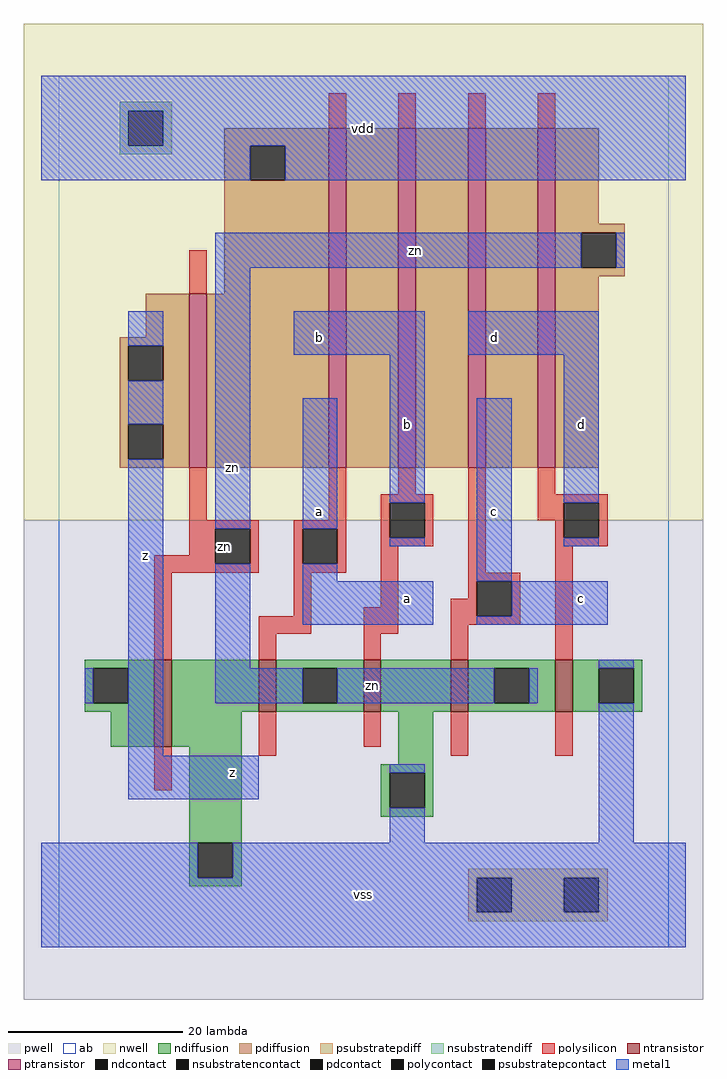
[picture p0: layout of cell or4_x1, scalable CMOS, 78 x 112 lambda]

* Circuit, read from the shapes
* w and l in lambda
.subckt or4_x1 a b c d vdd vss z zn
M1 vss zn z vss nfet w=10 l=2
M2 zn a vss vss nfet w=6 l=2
M3 vss b zn vss nfet w=6 l=2
M4 zn c vss vss nfet w=6 l=2
M5 vss d zn vss nfet w=6 l=2
M6 vdd zn z vdd pfet w=20 l=2
M7 n1 a vdd vdd pfet w=39 l=2
M8 n2 b n1 vdd pfet w=39 l=2
M9 n3 c n2 vdd pfet w=39 l=2
M10 zn d n3 vdd pfet w=39 l=2
.ends

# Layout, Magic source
magic
tech scmos
<< ab >>
rect 0 0 70 100
<< pwell >>
rect -4 -6 74 49
<< nwell >>
rect -4 49 74 106
<< polysilicon >>
rect 31 94 33 98
rect 39 94 41 98
rect 47 94 49 98
rect 55 94 57 98
rect 15 75 17 80
rect 15 49 17 55
rect 31 49 33 55
rect 39 52 41 55
rect 15 48 23 49
rect 15 45 18 48
rect 11 44 18 45
rect 22 44 23 48
rect 11 43 23 44
rect 27 48 33 49
rect 27 44 28 48
rect 32 44 33 48
rect 27 43 33 44
rect 37 51 43 52
rect 37 47 38 51
rect 42 47 43 51
rect 37 46 43 47
rect 11 33 13 43
rect 27 38 29 43
rect 37 39 39 46
rect 47 43 49 55
rect 55 52 57 55
rect 55 51 63 52
rect 55 49 58 51
rect 57 47 58 49
rect 62 47 63 51
rect 57 46 63 47
rect 47 42 53 43
rect 47 40 48 42
rect 23 36 29 38
rect 35 36 39 39
rect 45 38 48 40
rect 52 38 53 42
rect 45 37 53 38
rect 23 33 25 36
rect 35 33 37 36
rect 45 33 47 37
rect 57 33 59 46
rect 11 18 13 23
rect 23 22 25 27
rect 35 23 37 27
rect 45 22 47 27
rect 57 22 59 27
<< ndiffusion >>
rect 3 32 11 33
rect 3 28 4 32
rect 8 28 11 32
rect 3 27 11 28
rect 6 23 11 27
rect 13 27 23 33
rect 25 32 35 33
rect 25 28 28 32
rect 32 28 35 32
rect 25 27 35 28
rect 37 27 45 33
rect 47 32 57 33
rect 47 28 50 32
rect 54 28 57 32
rect 47 27 57 28
rect 59 32 67 33
rect 59 28 62 32
rect 66 28 67 32
rect 59 27 67 28
rect 13 23 21 27
rect 15 12 21 23
rect 39 21 43 27
rect 37 20 43 21
rect 37 16 38 20
rect 42 16 43 20
rect 37 15 43 16
rect 15 8 16 12
rect 20 8 21 12
rect 15 7 21 8
<< pdiffusion >>
rect 19 92 31 94
rect 19 88 22 92
rect 26 88 31 92
rect 19 75 31 88
rect 10 70 15 75
rect 7 69 15 70
rect 7 65 8 69
rect 12 65 15 69
rect 7 60 15 65
rect 7 56 8 60
rect 12 56 15 60
rect 7 55 15 56
rect 17 55 31 75
rect 33 55 39 94
rect 41 55 47 94
rect 49 55 55 94
rect 57 83 62 94
rect 57 82 65 83
rect 57 78 60 82
rect 64 78 65 82
rect 57 77 65 78
rect 57 55 62 77
<< metal1 >>
rect -2 92 72 100
rect -2 88 22 92
rect 26 88 72 92
rect 18 78 60 82
rect 64 78 65 82
rect 8 69 12 73
rect 8 60 12 65
rect 3 28 4 32
rect 8 22 12 56
rect 18 48 22 78
rect 27 68 42 73
rect 47 68 62 73
rect 18 32 22 44
rect 28 48 32 63
rect 38 51 42 68
rect 38 46 42 47
rect 28 42 32 44
rect 48 42 52 63
rect 58 51 62 68
rect 58 46 62 47
rect 28 37 43 42
rect 52 38 63 42
rect 48 37 63 38
rect 62 32 66 33
rect 18 28 28 32
rect 32 28 50 32
rect 54 28 55 32
rect 8 17 23 22
rect 38 20 42 21
rect 38 12 42 16
rect 62 12 66 28
rect -2 8 16 12
rect 20 8 72 12
rect -2 0 72 8
<< ntransistor >>
rect 11 23 13 33
rect 23 27 25 33
rect 35 27 37 33
rect 45 27 47 33
rect 57 27 59 33
<< ptransistor >>
rect 15 55 17 75
rect 31 55 33 94
rect 39 55 41 94
rect 47 55 49 94
rect 55 55 57 94
<< polycontact >>
rect 18 44 22 48
rect 28 44 32 48
rect 38 47 42 51
rect 58 47 62 51
rect 48 38 52 42
<< ndcontact >>
rect 4 28 8 32
rect 28 28 32 32
rect 50 28 54 32
rect 62 28 66 32
rect 38 16 42 20
rect 16 8 20 12
<< pdcontact >>
rect 22 88 26 92
rect 8 65 12 69
rect 8 56 12 60
rect 60 78 64 82
<< psubstratepcontact >>
rect 48 4 52 8
rect 58 4 62 8
<< nsubstratencontact >>
rect 8 92 12 96
<< psubstratepdiff >>
rect 47 8 63 9
rect 47 4 48 8
rect 52 4 58 8
rect 62 4 63 8
rect 47 3 63 4
<< nsubstratendiff >>
rect 7 96 13 97
rect 7 92 8 96
rect 12 92 13 96
rect 7 91 13 92
<< labels >>
rlabel polycontact 19 46 19 46 6 zn
rlabel metal1 20 20 20 20 6 z
rlabel metal1 20 20 20 20 6 z
rlabel metal1 10 45 10 45 6 z
rlabel metal1 10 45 10 45 6 z
rlabel metal1 20 55 20 55 6 zn
rlabel metal1 35 6 35 6 6 vss
rlabel metal1 35 6 35 6 6 vss
rlabel metal1 30 50 30 50 6 a
rlabel metal1 30 50 30 50 6 a
rlabel metal1 30 70 30 70 6 b
rlabel metal1 30 70 30 70 6 b
rlabel metal1 35 94 35 94 6 vdd
rlabel metal1 35 94 35 94 6 vdd
rlabel metal1 36 30 36 30 6 zn
rlabel metal1 40 40 40 40 6 a
rlabel metal1 40 40 40 40 6 a
rlabel metal1 50 50 50 50 6 c
rlabel metal1 50 50 50 50 6 c
rlabel metal1 40 60 40 60 6 b
rlabel metal1 40 60 40 60 6 b
rlabel metal1 50 70 50 70 6 d
rlabel metal1 50 70 50 70 6 d
rlabel metal1 60 40 60 40 6 c
rlabel metal1 60 40 60 40 6 c
rlabel metal1 60 60 60 60 6 d
rlabel metal1 60 60 60 60 6 d
rlabel metal1 41 80 41 80 6 zn
<< end >>
